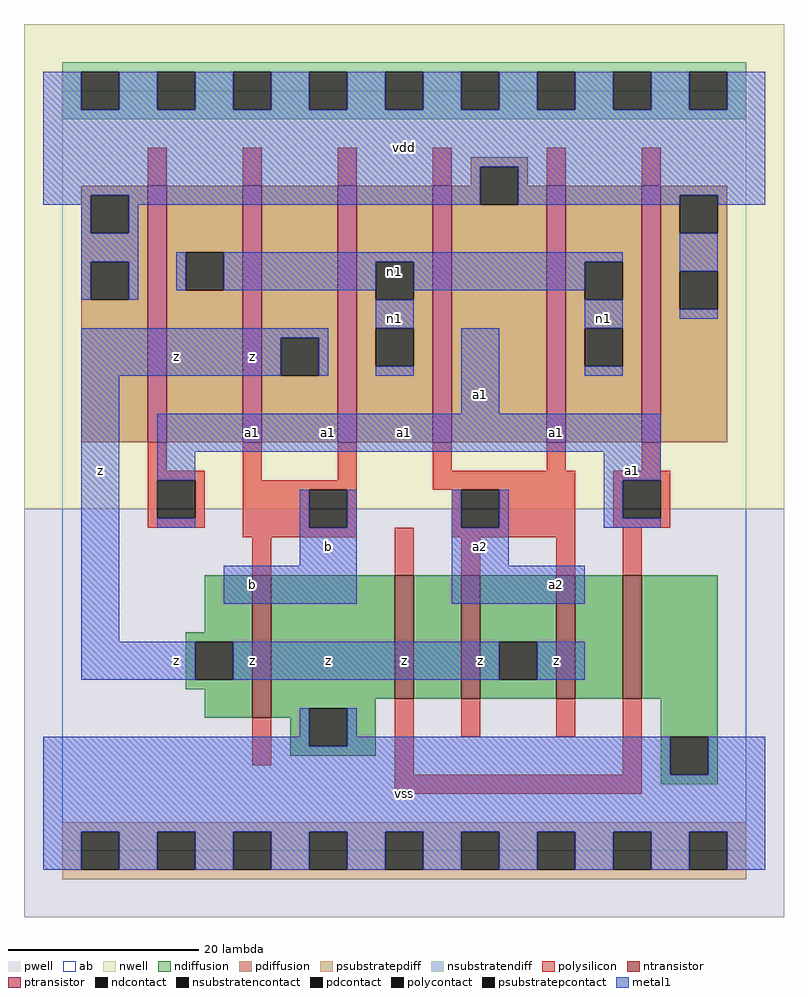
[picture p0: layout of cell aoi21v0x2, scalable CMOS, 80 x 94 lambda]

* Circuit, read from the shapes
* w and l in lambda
.subckt aoi21v0x2 a1 a2 b n1 vdd vss z
M1 vss b z vss nfet w=15 l=2
M2 n2 a1 vss vss nfet w=13 l=2
M3 z a2 n2 vss nfet w=13 l=2
M4 n3 a2 z vss nfet w=13 l=2
M5 vss a1 n3 vss nfet w=13 l=2
M6 n1 a1 vdd vdd pfet w=27 l=2 m=2
M7 z b n1 vdd pfet w=27 l=2 m=2
M8 vdd a2 n1 vdd pfet w=27 l=2 m=2
.ends

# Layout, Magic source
magic
tech scmos
<< ab >>
rect 0 0 72 80
<< pwell >>
rect -4 -7 76 36
<< nwell >>
rect -4 36 76 87
<< polysilicon >>
rect 9 70 11 74
rect 19 70 21 74
rect 29 70 31 74
rect 39 70 41 74
rect 51 70 53 74
rect 61 70 63 74
rect 9 40 11 43
rect 9 39 15 40
rect 9 35 10 39
rect 14 35 15 39
rect 9 34 15 35
rect 19 39 21 43
rect 29 39 31 43
rect 19 38 31 39
rect 39 40 41 43
rect 51 40 53 43
rect 61 40 63 43
rect 39 38 54 40
rect 19 34 26 38
rect 30 34 31 38
rect 41 34 42 38
rect 46 34 54 38
rect 58 39 64 40
rect 58 35 59 39
rect 63 35 64 39
rect 58 34 64 35
rect 19 33 31 34
rect 20 29 22 33
rect 35 29 37 34
rect 41 33 54 34
rect 42 29 44 33
rect 52 29 54 33
rect 59 29 61 34
rect 20 9 22 14
rect 35 8 37 16
rect 42 12 44 16
rect 52 12 54 16
rect 59 8 61 16
rect 35 6 61 8
<< ndiffusion >>
rect 15 23 20 29
rect 13 22 20 23
rect 13 18 14 22
rect 18 18 20 22
rect 13 17 20 18
rect 15 14 20 17
rect 22 16 35 29
rect 37 16 42 29
rect 44 22 52 29
rect 44 18 46 22
rect 50 18 52 22
rect 44 16 52 18
rect 54 16 59 29
rect 61 16 69 29
rect 22 15 33 16
rect 22 14 26 15
rect 24 11 26 14
rect 30 11 33 15
rect 24 10 33 11
rect 63 12 69 16
rect 63 8 64 12
rect 68 8 69 12
rect 63 7 69 8
<< pdiffusion >>
rect 43 72 49 73
rect 43 70 44 72
rect 2 69 9 70
rect 2 65 3 69
rect 7 65 9 69
rect 2 62 9 65
rect 2 58 3 62
rect 7 58 9 62
rect 2 43 9 58
rect 11 63 19 70
rect 11 59 13 63
rect 17 59 19 63
rect 11 43 19 59
rect 21 54 29 70
rect 21 50 23 54
rect 27 50 29 54
rect 21 43 29 50
rect 31 62 39 70
rect 31 58 33 62
rect 37 58 39 62
rect 31 55 39 58
rect 31 51 33 55
rect 37 51 39 55
rect 31 43 39 51
rect 41 68 44 70
rect 48 70 49 72
rect 48 68 51 70
rect 41 43 51 68
rect 53 62 61 70
rect 53 58 55 62
rect 59 58 61 62
rect 53 55 61 58
rect 53 51 55 55
rect 59 51 61 55
rect 53 43 61 51
rect 63 69 70 70
rect 63 65 65 69
rect 69 65 70 69
rect 63 61 70 65
rect 63 57 65 61
rect 69 57 70 61
rect 63 43 70 57
<< metal1 >>
rect -2 78 2 82
rect 6 78 10 82
rect 14 78 18 82
rect 22 78 26 82
rect 30 78 34 82
rect 38 78 42 82
rect 46 78 50 82
rect 54 78 58 82
rect 62 78 66 82
rect 70 78 74 82
rect -2 72 74 78
rect -2 69 44 72
rect -2 68 3 69
rect 2 65 3 68
rect 7 68 44 69
rect 48 69 74 72
rect 48 68 65 69
rect 7 65 8 68
rect 2 62 8 65
rect 69 68 74 69
rect 2 58 3 62
rect 7 58 8 62
rect 12 59 13 63
rect 17 62 59 63
rect 17 59 33 62
rect 37 59 55 62
rect 33 55 37 58
rect 55 55 59 58
rect 65 61 69 65
rect 65 56 69 57
rect 2 54 28 55
rect 2 50 23 54
rect 27 50 28 54
rect 33 50 37 51
rect 2 22 6 50
rect 42 46 46 55
rect 55 50 59 51
rect 10 42 63 46
rect 10 39 14 42
rect 57 39 63 42
rect 10 34 14 35
rect 25 34 26 38
rect 30 34 31 38
rect 25 30 31 34
rect 17 26 31 30
rect 41 34 42 38
rect 46 34 47 38
rect 57 35 59 39
rect 57 34 63 35
rect 41 30 47 34
rect 41 26 55 30
rect 2 18 14 22
rect 18 18 46 22
rect 50 18 55 22
rect 25 12 26 15
rect -2 11 26 12
rect 30 12 31 15
rect 30 11 64 12
rect -2 8 64 11
rect 68 8 74 12
rect -2 2 74 8
rect -2 -2 2 2
rect 6 -2 10 2
rect 14 -2 18 2
rect 22 -2 26 2
rect 30 -2 34 2
rect 38 -2 42 2
rect 46 -2 50 2
rect 54 -2 58 2
rect 62 -2 66 2
rect 70 -2 74 2
<< ntransistor >>
rect 20 14 22 29
rect 35 16 37 29
rect 42 16 44 29
rect 52 16 54 29
rect 59 16 61 29
<< ptransistor >>
rect 9 43 11 70
rect 19 43 21 70
rect 29 43 31 70
rect 39 43 41 70
rect 51 43 53 70
rect 61 43 63 70
<< polycontact >>
rect 10 35 14 39
rect 26 34 30 38
rect 42 34 46 38
rect 59 35 63 39
<< ndcontact >>
rect 14 18 18 22
rect 46 18 50 22
rect 26 11 30 15
rect 64 8 68 12
<< pdcontact >>
rect 3 65 7 69
rect 3 58 7 62
rect 13 59 17 63
rect 23 50 27 54
rect 33 58 37 62
rect 33 51 37 55
rect 44 68 48 72
rect 55 58 59 62
rect 55 51 59 55
rect 65 65 69 69
rect 65 57 69 61
<< psubstratepcontact >>
rect 2 -2 6 2
rect 10 -2 14 2
rect 18 -2 22 2
rect 26 -2 30 2
rect 34 -2 38 2
rect 42 -2 46 2
rect 50 -2 54 2
rect 58 -2 62 2
rect 66 -2 70 2
<< nsubstratencontact >>
rect 2 78 6 82
rect 10 78 14 82
rect 18 78 22 82
rect 26 78 30 82
rect 34 78 38 82
rect 42 78 46 82
rect 50 78 54 82
rect 58 78 62 82
rect 66 78 70 82
<< psubstratepdiff >>
rect 0 2 72 3
rect 0 -2 2 2
rect 6 -2 10 2
rect 14 -2 18 2
rect 22 -2 26 2
rect 30 -2 34 2
rect 38 -2 42 2
rect 46 -2 50 2
rect 54 -2 58 2
rect 62 -2 66 2
rect 70 -2 72 2
rect 0 -3 72 -2
<< nsubstratendiff >>
rect 0 82 72 83
rect 0 78 2 82
rect 6 78 10 82
rect 14 78 18 82
rect 22 78 26 82
rect 30 78 34 82
rect 38 78 42 82
rect 46 78 50 82
rect 54 78 58 82
rect 62 78 66 82
rect 70 78 72 82
rect 0 77 72 78
<< labels >>
rlabel metal1 4 40 4 40 6 z
rlabel metal1 12 20 12 20 6 z
rlabel metal1 20 20 20 20 6 z
rlabel metal1 20 28 20 28 6 b
rlabel metal1 20 44 20 44 6 a1
rlabel metal1 20 52 20 52 6 z
rlabel metal1 12 52 12 52 6 z
rlabel metal1 36 6 36 6 6 vss
rlabel metal1 28 20 28 20 6 z
rlabel metal1 36 20 36 20 6 z
rlabel metal1 28 32 28 32 6 b
rlabel metal1 28 44 28 44 6 a1
rlabel metal1 36 44 36 44 6 a1
rlabel metal1 35 56 35 56 6 n1
rlabel metal1 36 74 36 74 6 vdd
rlabel metal1 44 20 44 20 6 z
rlabel metal1 52 20 52 20 6 z
rlabel metal1 52 28 52 28 6 a2
rlabel metal1 44 32 44 32 6 a2
rlabel metal1 52 44 52 44 6 a1
rlabel metal1 44 48 44 48 6 a1
rlabel metal1 60 40 60 40 6 a1
rlabel metal1 57 56 57 56 6 n1
rlabel pdcontact 35 61 35 61 6 n1
<< end >>
